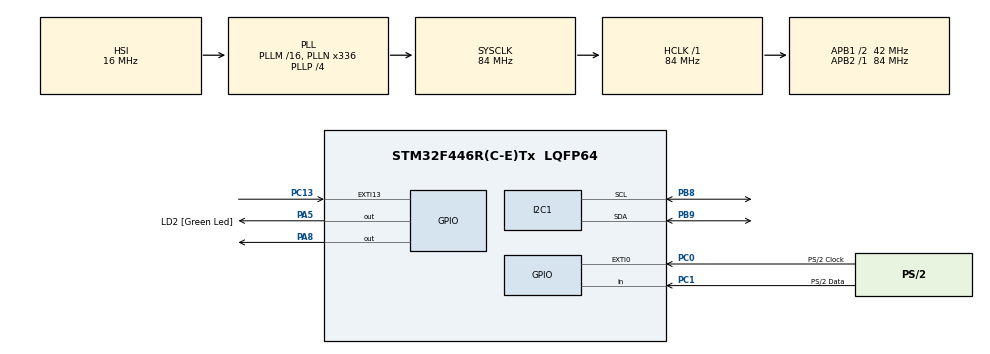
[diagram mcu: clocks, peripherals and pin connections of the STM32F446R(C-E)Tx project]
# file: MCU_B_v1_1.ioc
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FREERTOS.Tasks01=defaultTask,24,128,StartDefaultTask,Default,NULL,Dynamic,NULL,NULL;nfcTask,8,128,NFCTask,Default,NULL,Dynamic,NULL,NULL
Mcu.Family=STM32F4
Mcu.Name=STM32F446R(C-E)Tx
Mcu.Package=LQFP64
NVIC.EXTI0_IRQn=true\:5\:0\:false\:false\:true\:true\:true\:true\:true
NVIC.EXTI15_10_IRQn=true\:5\:0\:false\:false\:true\:true\:true\:true\:true
NVIC.PriorityGroup=NVIC_PRIORITYGROUP_4
NVIC.TIM6_DAC_IRQn=true\:15\:0\:false\:false\:true\:false\:false\:true\:true
NVIC.TimeBase=TIM6_DAC_IRQn
NVIC.TimeBaseIP=TIM6
PA13.GPIO_Label=TMS
PA13.Signal=SYS_JTMS-SWDIO
PA14.GPIO_Label=TCK
PA14.Signal=SYS_JTCK-SWCLK
PA2.GPIO_Label=USART_TX
PA2.Signal=USART2_TX
PA3.GPIO_Label=USART_RX
PA3.Signal=USART2_RX
PA5.GPIO_Label=LD2 [Green Led]
PA5.Signal=GPIO_Output
PA8.Signal=GPIO_Output
PB3.GPIO_Label=SWO
PB3.Signal=SYS_JTDO-SWO
PB8.GPIO_Pu=GPIO_PULLUP
PB8.Mode=I2C
PB8.Signal=I2C1_SCL
PB9.GPIO_Pu=GPIO_PULLUP
PB9.Mode=I2C
PB9.Signal=I2C1_SDA
PC0.GPIO_Label=PS/2 Clock
PC0.GPIO_ModeDefaultEXTI=GPIO_MODE_IT_FALLING
PC0.GPIO_PuPd=GPIO_NOPULL
PC0.Signal=GPXTI0
PC1.GPIO_Label=PS/2 Data
PC1.Signal=GPIO_Input
PC13.GPIO_ModeDefaultEXTI=GPIO_MODE_IT_FALLING
PC13.GPIO_PuPd=GPIO_PULLUP
PC13.Signal=GPXTI13
PC14-OSC32_IN.Signal=RCC_OSC32_IN
PC15-OSC32_OUT.Signal=RCC_OSC32_OUT
PH0-OSC_IN.Signal=RCC_OSC_IN
PH1-OSC_OUT.Signal=RCC_OSC_OUT
ProjectManager.HeapSize=0x200
ProjectManager.StackSize=0x400
ProjectManager.TargetToolchain=STM32CubeIDE
RCC.AHBFreq_Value=84000000
RCC.APB1CLKDivider=RCC_HCLK_DIV2
RCC.APB1Freq_Value=42000000
RCC.APB1TimFreq_Value=84000000
RCC.APB2Freq_Value=84000000
RCC.APB2TimFreq_Value=84000000
RCC.CortexFreq_Value=84000000
RCC.FLatency-AdvancedSettings=FLASH_LATENCY_2
RCC.HCLKFreq_Value=84000000
RCC.HSE_VALUE=8000000
RCC.HSI_VALUE=16000000
RCC.LSE_VALUE=32768
RCC.PLLN=336
RCC.PLLP=RCC_PLLP_DIV4
RCC.SYSCLKFreq_VALUE=84000000
RCC.SYSCLKSource=RCC_SYSCLKSOURCE_PLLCLK
RCC.USBFreq_Value=168000000
RCC.VCOOutputFreq_Value=336000000
VP_FREERTOS_VS_CMSIS_V2.Mode=CMSIS_V2
VP_SYS_VS_tim6.Mode=TIM6
board=NUCLEO-F446RE

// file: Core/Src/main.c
/* USER CODE BEGIN Header */
/**
  ******************************************************************************
  * @file           : main.c
  * @brief          : Main program body
  ******************************************************************************
  * @attention
  *
  * Copyright (c) 2026 STMicroelectronics.
  * All rights reserved.
  *
  * This software is licensed under terms that can be found in the LICENSE file
  * in the root directory of this software component.
  * If no LICENSE file comes with this software, it is provided AS-IS.
  *
  ******************************************************************************
  */
/* USER CODE END Header */
#include "main.h"
#include "cmsis_os.h"

/* USER CODE BEGIN Includes */
#include "nfc.h"
#include "ps2.h"
/* USER CODE END Includes */

I2C_HandleTypeDef hi2c1;

/* Definitions for defaultTask */
osThreadId_t defaultTaskHandle;
const osThreadAttr_t defaultTask_attributes = {
  .name = "defaultTask",
  .stack_size = 128 * 4,
  .priority = (osPriority_t) osPriorityNormal,
};
/* Definitions for nfcTask */
osThreadId_t nfcTaskHandle;
const osThreadAttr_t nfcTask_attributes = {
  .name = "nfcTask",
  .stack_size = 128 * 4,
  .priority = (osPriority_t) osPriorityLow,
};
/* USER CODE BEGIN PV */

NFC_handle nfc =
{
		.hi2c = &hi2c1,
		.i2c_addr = PN532_I2C_ADDR_8BIT,
    .irq_port = GPIOC, .irq_pin = GPIO_PIN_13,
    .rst_port = GPIOA, .rst_pin = GPIO_PIN_10
};

/* USER CODE END PV */

void SystemClock_Config(void);
static void MX_GPIO_Init(void);
static void MX_I2C1_Init(void);
void StartDefaultTask(void *argument);
void NFCTask(void *argument);

/* USER CODE BEGIN 0 */
bool authenticated = false;
static uint8_t ps2_byte_message[PS2_MESSAGE_MAX];
static uint16_t ps2_byte_message_length = 0;
/* USER CODE END 0 */

int main(void)
{

  /* MCU Configuration--------------------------------------------------------*/

  /* Reset of all peripherals, Initializes the Flash interface and the Systick. */
  HAL_Init();

  /* Configure the system clock */
  SystemClock_Config();

  /* Initialize all configured peripherals */
  MX_GPIO_Init();
  MX_I2C1_Init();
  /* USER CODE BEGIN 2 */
  HAL_Delay(500);
  if(HAL_OK != NFC_Init(&nfc))
  {
    while(true)
    {
      HAL_Delay(1000);
    }
  }

  PS2_Init();

  /* USER CODE END 2 */

  /* Init scheduler */
  osKernelInitialize();

  /* Create the thread(s) */
  /* creation of defaultTask */
  defaultTaskHandle = osThreadNew(StartDefaultTask, NULL, &defaultTask_attributes);

  /* creation of nfcTask */
  nfcTaskHandle = osThreadNew(NFCTask, NULL, &nfcTask_attributes);

  /* Start scheduler */
  osKernelStart();

  /* We should never get here as control is now taken by the scheduler */

  /* Infinite loop */
  while (1)
  {

  }
}

void SystemClock_Config(void)
{
  RCC_OscInitTypeDef RCC_OscInitStruct = {0};
  RCC_ClkInitTypeDef RCC_ClkInitStruct = {0};

  /** Configure the main internal regulator output voltage
  */
  __HAL_RCC_PWR_CLK_ENABLE();
  __HAL_PWR_VOLTAGESCALING_CONFIG(PWR_REGULATOR_VOLTAGE_SCALE3);

  /** Initializes the RCC Oscillators according to the specified parameters
  * in the RCC_OscInitTypeDef structure.
  */
  RCC_OscInitStruct.OscillatorType = RCC_OSCILLATORTYPE_HSI;
  RCC_OscInitStruct.HSIState = RCC_HSI_ON;
  RCC_OscInitStruct.HSICalibrationValue = RCC_HSICALIBRATION_DEFAULT;
  RCC_OscInitStruct.PLL.PLLState = RCC_PLL_ON;
  RCC_OscInitStruct.PLL.PLLSource = RCC_PLLSOURCE_HSI;
  RCC_OscInitStruct.PLL.PLLM = 16;
  RCC_OscInitStruct.PLL.PLLN = 336;
  RCC_OscInitStruct.PLL.PLLP = RCC_PLLP_DIV4;
  RCC_OscInitStruct.PLL.PLLQ = 2;
  RCC_OscInitStruct.PLL.PLLR = 2;
  if (HAL_RCC_OscConfig(&RCC_OscInitStruct) != HAL_OK)
  {
    Error_Handler();
  }

  /** Initializes the CPU, AHB and APB buses clocks
  */
  RCC_ClkInitStruct.ClockType = RCC_CLOCKTYPE_HCLK|RCC_CLOCKTYPE_SYSCLK
                              |RCC_CLOCKTYPE_PCLK1|RCC_CLOCKTYPE_PCLK2;
  RCC_ClkInitStruct.SYSCLKSource = RCC_SYSCLKSOURCE_PLLCLK;
  RCC_ClkInitStruct.AHBCLKDivider = RCC_SYSCLK_DIV1;
  RCC_ClkInitStruct.APB1CLKDivider = RCC_HCLK_DIV2;
  RCC_ClkInitStruct.APB2CLKDivider = RCC_HCLK_DIV1;

  if (HAL_RCC_ClockConfig(&RCC_ClkInitStruct, FLASH_LATENCY_2) != HAL_OK)
  {
    Error_Handler();
  }
}

static void MX_I2C1_Init(void)
{

  hi2c1.Instance = I2C1;
  hi2c1.Init.ClockSpeed = 100000;
  hi2c1.Init.DutyCycle = I2C_DUTYCYCLE_2;
  hi2c1.Init.OwnAddress1 = 0;
  hi2c1.Init.AddressingMode = I2C_ADDRESSINGMODE_7BIT;
  hi2c1.Init.DualAddressMode = I2C_DUALADDRESS_DISABLE;
  hi2c1.Init.OwnAddress2 = 0;
  hi2c1.Init.GeneralCallMode = I2C_GENERALCALL_DISABLE;
  hi2c1.Init.NoStretchMode = I2C_NOSTRETCH_DISABLE;
  if (HAL_I2C_Init(&hi2c1) != HAL_OK)
  {
    Error_Handler();
  }

}

static void MX_GPIO_Init(void)
{
  GPIO_InitTypeDef GPIO_InitStruct = {0};

  /* GPIO Ports Clock Enable */
  __HAL_RCC_GPIOC_CLK_ENABLE();
  __HAL_RCC_GPIOH_CLK_ENABLE();
  __HAL_RCC_GPIOA_CLK_ENABLE();
  __HAL_RCC_GPIOB_CLK_ENABLE();

  /*Configure GPIO pin Output Level */
  HAL_GPIO_WritePin(GPIOA, LD2_Pin|GPIO_PIN_8, GPIO_PIN_RESET);

  /*Configure GPIO pin : PC13 */
  GPIO_InitStruct.Pin = GPIO_PIN_13;
  GPIO_InitStruct.Mode = GPIO_MODE_IT_FALLING;
  GPIO_InitStruct.Pull = GPIO_PULLUP;
  HAL_GPIO_Init(GPIOC, &GPIO_InitStruct);

  /*Configure GPIO pin : PS_2_Clock_Pin */
  GPIO_InitStruct.Pin = PS_2_Clock_Pin;
  GPIO_InitStruct.Mode = GPIO_MODE_IT_FALLING;
  GPIO_InitStruct.Pull = GPIO_NOPULL;
  HAL_GPIO_Init(PS_2_Clock_GPIO_Port, &GPIO_InitStruct);

  /*Configure GPIO pin : PS_2_Data_Pin */
  GPIO_InitStruct.Pin = PS_2_Data_Pin;
  GPIO_InitStruct.Mode = GPIO_MODE_INPUT;
  GPIO_InitStruct.Pull = GPIO_NOPULL;
  HAL_GPIO_Init(PS_2_Data_GPIO_Port, &GPIO_InitStruct);

  /*Configure GPIO pins : USART_TX_Pin USART_RX_Pin */
  GPIO_InitStruct.Pin = USART_TX_Pin|USART_RX_Pin;
  GPIO_InitStruct.Mode = GPIO_MODE_AF_PP;
  GPIO_InitStruct.Pull = GPIO_NOPULL;
  GPIO_InitStruct.Speed = GPIO_SPEED_FREQ_VERY_HIGH;
  GPIO_InitStruct.Alternate = GPIO_AF7_USART2;
  HAL_GPIO_Init(GPIOA, &GPIO_InitStruct);

  /*Configure GPIO pins : LD2_Pin PA8 */
  GPIO_InitStruct.Pin = LD2_Pin|GPIO_PIN_8;
  GPIO_InitStruct.Mode = GPIO_MODE_OUTPUT_PP;
  GPIO_InitStruct.Pull = GPIO_NOPULL;
  GPIO_InitStruct.Speed = GPIO_SPEED_FREQ_LOW;
  HAL_GPIO_Init(GPIOA, &GPIO_InitStruct);

  /* EXTI interrupt init*/
  HAL_NVIC_SetPriority(EXTI0_IRQn, 5, 0);
  HAL_NVIC_EnableIRQ(EXTI0_IRQn);

  HAL_NVIC_SetPriority(EXTI15_10_IRQn, 5, 0);
  HAL_NVIC_EnableIRQ(EXTI15_10_IRQn);

}

/* USER CODE BEGIN 4 */
void HAL_GPIO_EXTI_Callback(uint16_t GPIO_Pin)
{
  if(GPIO_Pin == GPIO_PIN_13)
  {
    NFC_IrqFromIsr(&nfc);
  }

  if(GPIO_Pin == PS_2_Clock_Pin)
  {
	  PS2_ClockEdgeFromIsr();
  }
}
/* USER CODE END 4 */

void StartDefaultTask(void *argument)
{
  /* USER CODE BEGIN 5 */
  /* Infinite loop */
  for(;;)
  {

	PS2_CheckMessageTimeout();
	if (PS2_MessageReady())
	{
		ps2_byte_message_length = PS2_GetMessage(ps2_byte_message, PS2_MESSAGE_MAX);
	}
    if(authenticated)
    {
      HAL_GPIO_TogglePin(GPIOA, GPIO_PIN_5);
      authenticated = false;
    }
    osDelay(1);
  }
  /* USER CODE END 5 */
}

void NFCTask(void *argument)
{
  /* USER CODE BEGIN NFCTask */
  /* Infinite loop */
  uint8_t last_uid[10] = {0};
    uint8_t last_len = 0;

    for (;;) {

      if(HAL_OK == NFC_ReadPassiveTargetID(&nfc, last_uid, &last_len, 1000))
      {
        if(last_uid[0] == 0x9a)
        {
          authenticated = true;
        }
        else
        {
          authenticated = false;
        }
        osDelay(3000); // found a tag, wait a little bit to rescan
      }
      osDelay(1);
    }
  /* USER CODE END NFCTask */
}

void HAL_TIM_PeriodElapsedCallback(TIM_HandleTypeDef *htim)
{
  if (htim->Instance == TIM6)
  {
    HAL_IncTick();
  }
}

void Error_Handler(void)
{
  __disable_irq();
  while (1)
  {
  }
}
